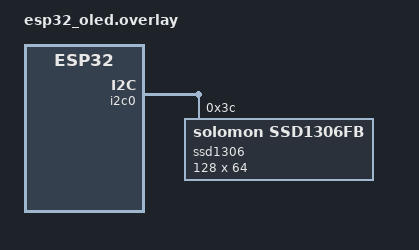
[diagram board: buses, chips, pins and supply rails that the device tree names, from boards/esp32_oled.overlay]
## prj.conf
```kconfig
# General troubleshooting
CONFIG_LOG=y
CONFIG_LOG_DEFAULT_LEVEL=3
#CONFIG_DEBUG_THREAD_INFO=y
#CONFIG_THREAD_ANALYZER=y
#CONFIG_THREAD_ANALYZER_USE_LOG=y
#CONFIG_SHELL=y
#CONFIG_DEBUG_OPTIMIZATIONS=y
#CONFIG_NO_OPTIMIZATIONS=y
#CONFIG_KERNEL_LOG_LEVEL_DBG=y

# Needed for display and LVGL (prevent stack overflow and crash)
CONFIG_MAIN_STACK_SIZE=8192

# Enable display driver (ST7735R)
CONFIG_DISPLAY=y
CONFIG_DISPLAY_LOG_LEVEL_DBG=y

# Configure LVGL
CONFIG_LVGL=y
#CONFIG_LV_USE_LOG=y
#CONFIG_LV_LOG_LEVEL_TRACE=y
#CONFIG_LV_Z_SHELL=y
CONFIG_LV_Z_AUTO_INIT=n
CONFIG_LV_Z_MEM_POOL_SIZE=8192

# Enable LVGL widgets
CONFIG_LV_CONF_MINIMAL=y
#CONFIG_LV_USE_LABEL=y
#CONFIG_LV_LABEL_TEXT_SELECTION=y
#CONFIG_LV_LABEL_LONG_TXT_HINT=y
CONFIG_LV_USE_LINE=y
CONFIG_LV_USE_THEME_DEFAULT=y
```

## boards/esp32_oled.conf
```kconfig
# Extra config for debugging
#CONFIG_SHELL=y
#CONFIG_I2C_SHELL=y
#CONFIG_I2C_LOG_LEVEL_DBG=y
#CONFIG_I2C_DUMP_MESSAGES=y

# https://www.reddit.com/r/embedded/comments/1508qbj/lvgl_ssd1306_and_zephyr/
CONFIG_LV_COLOR_DEPTH_1=y
CONFIG_LV_Z_BITS_PER_PIXEL=1
CONFIG_LV_Z_VDB_SIZE=100
CONFIG_LV_DPI_DEF=149

CONFIG_LV_Z_FULL_REFRESH=y
CONFIG_LV_Z_BUFFER_ALLOC_STATIC=y
CONFIG_LV_Z_MONOCHROME_CONVERSION_BUFFER=y
```

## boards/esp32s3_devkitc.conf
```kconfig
# CONFIG_LV_MEM_CUSTOM=y
# CONFIG_LV_Z_BITS_PER_PIXEL=16
# CONFIG_LV_COLOR_16_SWAP=y
```

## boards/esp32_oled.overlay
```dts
/ {
    chosen {
        zephyr,display = &ssd1306;
    };
};

&i2c0 {
	status = "okay";

	ssd1306: ssd1306@3c {
		compatible = "solomon,ssd1306fb";
		reg = <0x3c>;
		height = <64>;
		width = <128>;
		segment-offset = <0>;
		page-offset = <0>;
		display-offset = <0>;
		multiplex-ratio = <63>;
		prechargep = <0x22>;
		com-invdir;
		segment-remap;
	};
};
```

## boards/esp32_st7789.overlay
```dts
#include <zephyr/dt-bindings/mipi_dbi/mipi_dbi.h>

/ {
    chosen {
        zephyr,display = &st7789v_240x240;
    };

    mipi_dbi {
        compatible = "zephyr,mipi-dbi-spi";
        spi-dev = <&spi3>;
        dc-gpios = <&gpio0 21 GPIO_ACTIVE_HIGH>;
        reset-gpios = <&gpio0 22 GPIO_ACTIVE_LOW>;
        #address-cells = <1>;
        #size-cells = <0>;

		// From https://adafruit-playground.com/u/SamBlenny/pages/zephyr-quest-st7789-display-with-feather-rp2350
		// See also https://devzone.nordicsemi.com/f/nordic-q-a/116909/working-devicetree-for-st7789v-display
        st7789v_240x240: st7789v@0 {
            compatible = "sitronix,st7789v";
			reg = <0>;
			mipi-max-frequency = <1000000>; /* 1 MHz */
			mipi-mode = "MIPI_DBI_MODE_SPI_4WIRE";
			x-offset = <0>;
			y-offset = <0>;
			height = <240>;  /* Y range is 0..239 */
			width  = <240>;  /* X range is 0..239 */

			/* These values copied from CircuitPython init sequence */
			colmod   = <0x55>;  /* 16-bit 5-6-5 */
			mdac     = <0x0C>;

			/* Set required properties to defaults from ST7789V datasheet */
			vcom     = <0x20>;
			gctrl    = <0x35>;
			lcm      = <0x2C>;
			gamma    = <0x01>;
			porch-param   = [0C 0C 00 33 33];
			cmd2en-param  = [5A 69 02 00];
			pwctrl1-param = [A4 81];
			pvgam-param   = [d0 00 02 07 0b 1a 31 54 40 29 12 12 12 17];
			nvgam-param   = [d0 00 02 07 05 25 2d 44 44 1c 18 16 1c 1d];
			ram-param     = [00 f0];
			rgb-param     = [40 02 14];
        };
    };
};
```

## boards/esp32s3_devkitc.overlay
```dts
#include <zephyr/dt-bindings/mipi_dbi/mipi_dbi.h>

/ {
    chosen {
        zephyr,display = &st7735r_160x80;
    };

    mipi_dbi {
        compatible = "zephyr,mipi-dbi-spi";
        spi-dev = <&spi3>; // use spi3 since spi2 pins are for JTAG debugging
        dc-gpios = <&gpio0 21 GPIO_ACTIVE_HIGH>;
        reset-gpios = <&gpio0 22 GPIO_ACTIVE_LOW>;
        #address-cells = <1>;
        #size-cells = <0>;

        st7735r_160x80: st7735r@0 {
            compatible = "sitronix,st7735r";
            reg = <0>;
            mipi-max-frequency = <20000000>;
			mipi-mode = "MIPI_DBI_MODE_SPI_4WIRE";
			reg = <0>;
			width = <160>;
			height = <80>;
			inversion-on;
			rgb-is-inverted;
			x-offset = <1>;
			y-offset = <26>;
			pwctr1 = [A2 02 84];
			pwctr2 = [C5];
			pwctr3 = [0A 00];
			pwctr4 = [8A 2A];
			pwctr5 = [8A EE];
			invctr = <7>;
			frmctr1 = [01 2C 2D];
			frmctr2 = [01 2C 2D];
			frmctr3 = [01 2C 2D 01 2C 2D];
			vmctr1 = <14>;
			gamctrp1 = [02 1C 07 12 37 32 29 2D 29 25 2B 39 00 01 03 10];
			gamctrn1 = [03 1D 07 06 2E 2C 29 2D 2E 2E 37 3F 00 00 02 10];
			colmod = <5>;
			/* Set D3 (RGB) bit to 1. LV_COLOR_16_SWAP is enabled by default */
			madctl = <184>; /* Set to <120> to rotate the image 180 degrees. */
			caset = [00 01 00 a0];
			raset = [00 1a 00 69];
        };
    };
};
```

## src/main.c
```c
#include <zephyr/logging/log.h>
LOG_MODULE_REGISTER(display);

#include <zephyr/kernel.h>
#include <zephyr/drivers/display.h>

// Settings
static const int32_t sleep_time_ms = 50;        // Target 20 FPS

#if !CONFIG_LVGL // Check if we can interact with the screen using Zephyr standard display API, no LGVL

const struct device *display = DEVICE_DT_GET(DT_CHOSEN(zephyr_display));

#define DISPLAY_BUFFER_PITCH 128

int main(void)
{
    int ret = 0;

    // Initialize the display
    if (!device_is_ready(display)) {
        printk("Error: display not ready\r\n");
        return -1;
    }

    // Check the display information (width, height, color format, ...)
    struct display_capabilities capabilities;
    display_get_capabilities(display, &capabilities);

    const uint16_t x_res = capabilities.x_resolution;
    const uint16_t y_res = capabilities.y_resolution;

    LOG_INF("x_resolution: %d", x_res);
    LOG_INF("y_resolution: %d", y_res);
    LOG_INF("supported pixel formats: %d", capabilities.supported_pixel_formats);
    LOG_INF("screen_info: %d", capabilities.screen_info);
    LOG_INF("current_pixel_format: %d", capabilities.current_pixel_format);
    LOG_INF("current_orientation: %d", capabilities.current_orientation);

    // Draw some simple content on the display
    // For monoschrome 128x64 screen, we fill the screen with line strips of 4 pixels in height.
    // For 16-bit color display, we have a buffer of 1024 bytes or 512 pixels so we prepare a
    // bitmap for a rectangle of size 2^5 x 2^4 or 32 x 16 filled with color 0x0f0f. Avoid 0x0000
    // and 0xffff since the display could be inverted and we see nothing.
    uint8_t buf[1024] = {0};
    for(int i = 0; i < sizeof(buf); i++) {
        buf[i] = 0x0f;
    }

    struct display_buffer_descriptor buf_desc = {
        .width = x_res,
        .height = y_res,
        .buf_size = sizeof(buf), // x_res * y_res,
        .pitch = x_res // DISPLAY_BUFFER_PITCH
    };

    switch (capabilities.current_pixel_format) {
    case PIXEL_FORMAT_RGB_565:
    case PIXEL_FORMAT_BGR_565:
        buf_desc.width = 32;
        buf_desc.height = 16;
        buf_desc.pitch = 32;
        break;
    default:
        break;
    }

    ret = display_write(display, 0, 0, &buf_desc, buf);
    if (ret != 0) {
        LOG_ERR("could not write to display: %d", ret);
    }

    ret = display_set_contrast(display, 255);
    if (ret != 0) {
        LOG_ERR("could not set display contrast, %d", ret);
        // ST7735R driver do not provide set_contrast API so this will return -ENOSYS
        // Avoid return ret; to jump into the infinite loop; else it's just CPU idle forever
    }

#if CONFIG_ST7789V
    // Disable display blanking
    ret = display_blanking_off(display);
    if (ret != 0) {
        LOG_ERR("could not resume display, %d", ret);
    }
#endif

    while (1) {
        LOG_ERR("Looping indefinitely");
        k_msleep(50 * sleep_time_ms);
    }
}

#else // CONFIG_LVGL

#include <lvgl.h>
#include <lvgl_zephyr.h> // for lvgl_init
#include <string.h>

int main(void)
{
    int ret = lvgl_init();
    if (ret < 0) {
        LOG_ERR("could initialize LVGL, %d", ret);
    }

    LOG_INF("LVGL initialized");

    uint32_t count = 0;
    char buf[11] = {0};
    const struct device *display;
    lv_obj_t *hello_label;
    lv_obj_t *counter_label;
    lv_obj_t *rect;
    lv_obj_t *circle;
    lv_style_t rect_style;
    lv_style_t circle_style;
    lv_point_precise_t rect_points[5] = { {0, 0}, {120, 0}, {120, 120}, {0, 120}, {0, 0} };
    const uint32_t circle_radius = 30;

    // Initialize the display
    display = DEVICE_DT_GET(DT_CHOSEN(zephyr_display));
    if (!device_is_ready(display)) {
        printk("Error: display not ready\r\n");
        return 0;
    }

    // Create a static label widget
    // hello_label = lv_label_create(lv_scr_act());
    // lv_label_set_text(hello_label, "Hello, World!");
    // lv_obj_align(hello_label, LV_ALIGN_TOP_MID, 0, 5);

    // Create a dynamic label widget
    // counter_label = lv_label_create(lv_scr_act());
    // lv_obj_align(counter_label, LV_ALIGN_BOTTOM_MID, 0, 0);

    // Set line style
    lv_style_init(&rect_style);
    lv_style_set_line_color(&rect_style, lv_color_white()); // lv_color_hex(0x0000FF));
    lv_style_set_line_width(&rect_style, 3);
    lv_style_set_bg_color(&rect_style, lv_color_black());

    // Create a rectangle out of lines
    rect = lv_line_create(lv_scr_act());
    lv_obj_add_style(rect, &rect_style, 0);
    lv_line_set_points(rect,
                       rect_points,
                       sizeof(rect_points) / sizeof(rect_points[0]));
    lv_obj_align(rect, LV_ALIGN_TOP_MID, 0, 0);

    // Set circle style
    lv_style_init(&circle_style);
    lv_style_set_radius(&circle_style, circle_radius);
    lv_style_set_border_width(&circle_style, 10);
    lv_style_set_border_color(&circle_style, lv_color_white());
    lv_style_set_bg_opa(&circle_style, LV_OPA_100);
    lv_style_set_bg_color(&circle_style, lv_color_black()); // lv_color_hex(0xFF0000));

    // Create an object with the new style
    circle = lv_obj_create(lv_scr_act());
    lv_obj_set_size(circle, circle_radius * 2, circle_radius * 2);
    lv_obj_add_style(circle, &circle_style, 0);
    lv_obj_align(circle, LV_ALIGN_CENTER, 0, 5);

#if CONFIG_ST7789V
    // Disable display blanking
    display_blanking_off(display);
#endif

    // Do forever
    while (1) {

        // Update counter label every second
        // count++;
        // if ((count % (1000 / sleep_time_ms)) == 0) {
        //     sprintf(buf, "%d", count / (1000 / sleep_time_ms));
        //     lv_label_set_text(counter_label, buf);
        // }

        // Must be called periodically
        lv_task_handler();

        // Sleep
        k_msleep(sleep_time_ms);
    }
}

#endif // !CONFIG_LVGL
```
